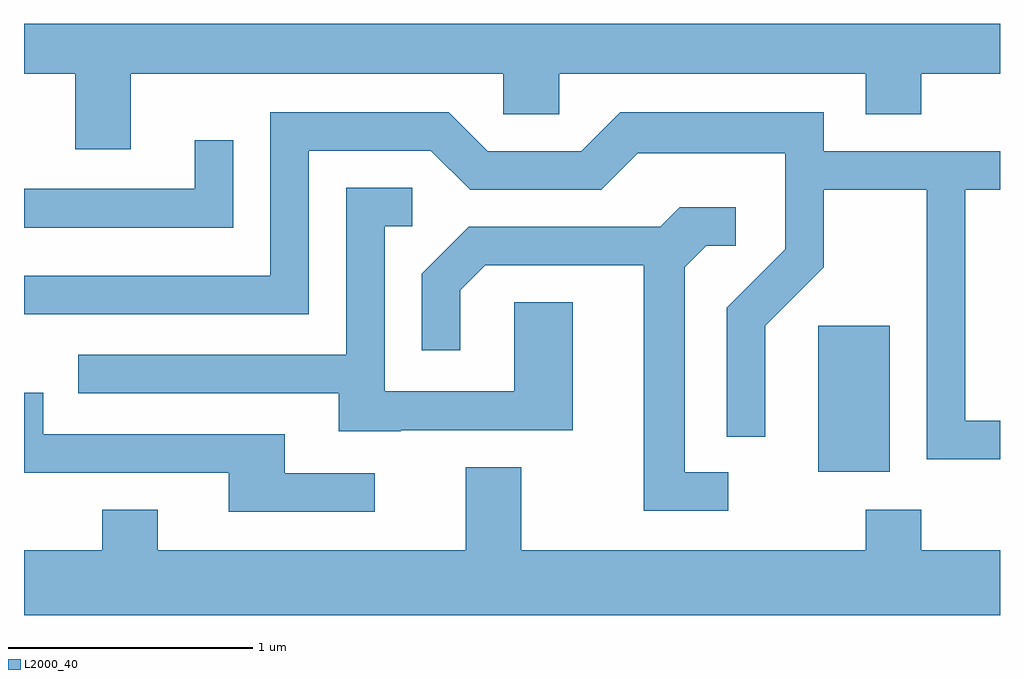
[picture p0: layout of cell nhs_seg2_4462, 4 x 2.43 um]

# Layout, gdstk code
import gdstk
lib = gdstk.Library(unit=1e-6, precision=1e-09)
def R(c, l, rs):  # rectangles x0, y0, x1, y1
    for r in rs: c.add(gdstk.rectangle(r[:2], r[2:], *l))
def P(c, l, *ps):  # polygons
    for p in ps: c.add(gdstk.Polygon(p, *l))
L2000_40 = (2000, 40)

nhs_seg2_4462 = lib.new_cell('nhs_seg2_4462')
R(nhs_seg2_4462, L2000_40, [(318.866,1099.966,319.159,1100.564)])
P(nhs_seg2_4462, L2000_40, [(316.049,1101.596),(317.576,1101.596),(317.576,1101.431),(317.804,1101.431),(317.804,1101.596),(319.061,1101.596),(319.061,1101.431),(319.289,1101.431),(319.289,1101.596),(319.611,1101.596),(319.611,1101.802),(315.611,1101.802),(315.611,1101.596),(315.821,1101.596),(315.821,1101.286),(316.049,1101.286)],
  [(319.611,1100.174),(319.469,1100.174),(319.469,1101.121),(319.611,1101.121),(319.611,1101.279),(318.889,1101.279),(318.889,1101.439),(318.054,1101.439),(317.894,1101.279),(317.512,1101.279),(317.352,1101.439),(316.621,1101.439),(316.621,1100.769),(315.611,1100.769),(315.611,1100.611),(316.779,1100.611),(316.779,1101.281),(317.279,1101.281),(317.439,1101.121),(317.977,1101.121),(318.127,1101.271),(318.731,1101.271),(318.731,1100.877),(318.491,1100.637),(318.491,1100.108),(318.649,1100.108),(318.649,1100.564),(318.889,1100.804),(318.889,1101.121),(319.311,1101.121),(319.311,1100.016),(319.611,1100.016)],
  [(316.469,1101.323),(316.311,1101.323),(316.311,1101.124),(315.611,1101.124),(315.611,1100.966),(316.469,1100.966)],
  [(317.155,1100.136),(317.859,1100.136),(317.859,1100.659),(317.621,1100.659),(317.621,1100.294),(317.089,1100.294),(317.089,1100.971),(317.203,1100.971),(317.203,1101.129),(316.931,1101.129),(316.931,1100.444),(315.833,1100.444),(315.833,1100.286),(316.901,1100.286),(316.901,1100.131),(317.155,1100.131)],
  [(318.498,1099.964),(318.319,1099.964),(318.319,1100.804),(318.407,1100.891),(318.528,1100.891),(318.528,1101.049),(318.299,1101.049),(318.219,1100.969),(317.434,1100.969),(317.241,1100.777),(317.241,1100.463),(317.399,1100.463),(317.399,1100.709),(317.502,1100.811),(318.151,1100.811),(318.151,1099.806),(318.498,1099.806)],
  [(317.048,1099.959),(316.679,1099.959),(316.679,1100.119),(315.689,1100.119),(315.689,1100.289),(315.611,1100.289),(315.611,1099.961),(316.451,1099.961),(316.451,1099.801),(317.048,1099.801)],
  [(319.611,1099.644),(319.289,1099.644),(319.289,1099.809),(319.061,1099.809),(319.061,1099.644),(317.649,1099.644),(317.649,1099.984),(317.421,1099.984),(317.421,1099.644),(316.159,1099.644),(316.159,1099.809),(315.931,1099.809),(315.931,1099.644),(315.611,1099.644),(315.611,1099.376),(319.611,1099.376)])

lib.write_gds('nhs_seg2_4462.gds')
